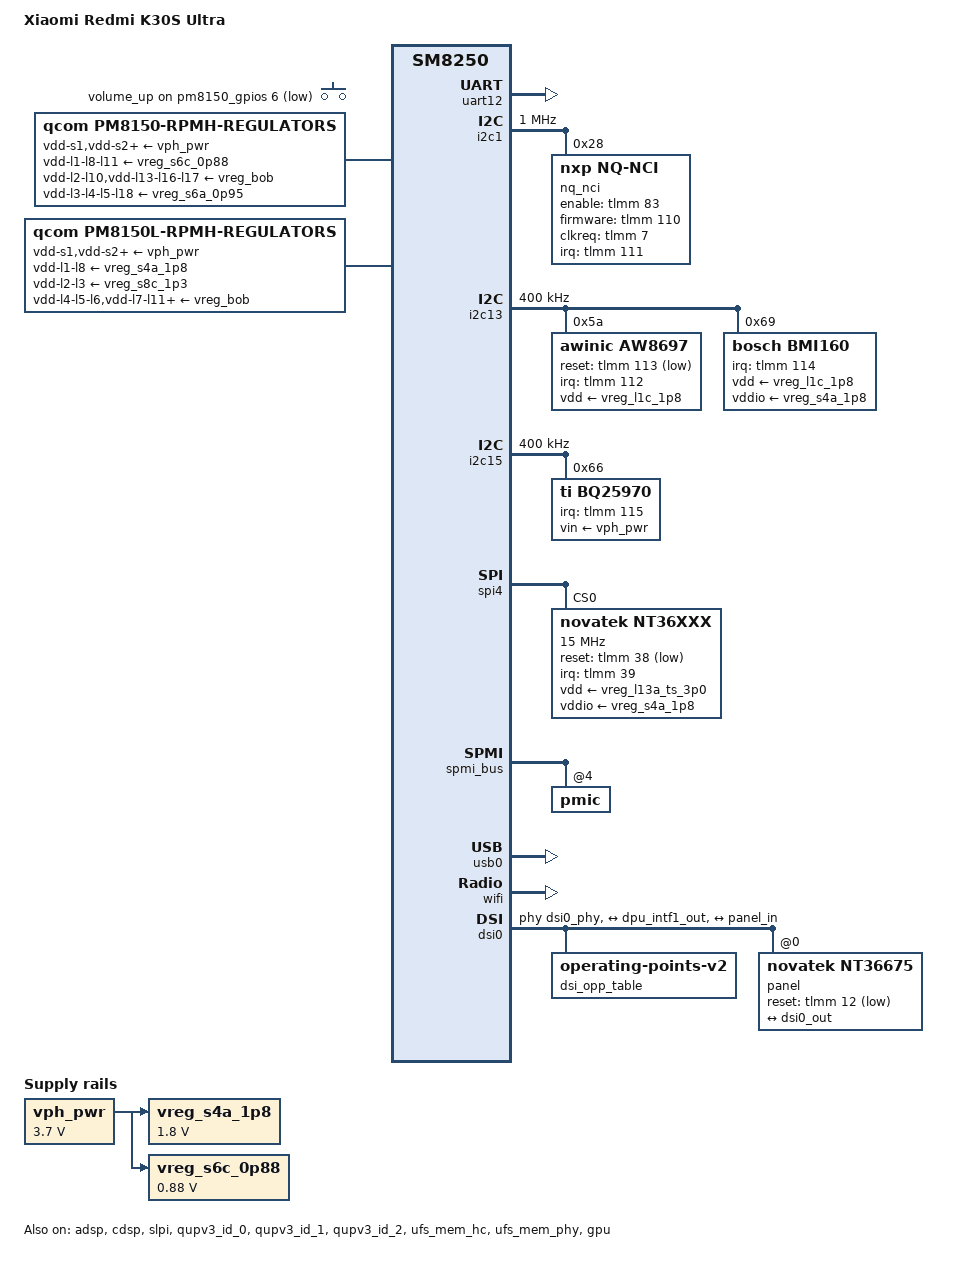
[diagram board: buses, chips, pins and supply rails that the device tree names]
// SPDX-License-Identifier: BSD-3-Clause
/*
 * Copyright (c) 2020, The Linux Foundation. All rights reserved.
 * Copyright (c) 2026, Apollo Kernel Project
 *
 * Device Tree for Xiaomi Redmi K30S Ultra (apollo)
 * Based on Qualcomm SM8250 MTP
 */

/dts-v1/;

#include <dt-bindings/regulator/qcom,rpmh-regulator.h>
#include <dt-bindings/gpio/gpio.h>
#include <dt-bindings/input/input.h>
#include <dt-bindings/interconnect/qcom,sm8250.h>
#include <dt-bindings/clock/qcom,dispcc-sm8250.h>
#include "sm8250.dtsi"
#include "pm8150.dtsi"
#include "pm8150b.dtsi"
#include "pm8150l.dtsi"

/ {
	model = "Xiaomi Redmi K30S Ultra";
	compatible = "xiaomi,apollo", "qcom,sm8250";
	qcom,msm-id = <0x164 0x10000>;
	qcom,board-id = <0x00 0x00>;

	aliases {
		serial0 = &uart12;
	};

	chosen {
		stdout-path = "serial0:115200n8";
	};

	/* Fixed regulators */
	vph_pwr: vph-pwr-regulator {
		compatible = "regulator-fixed";
		regulator-name = "vph_pwr";
		regulator-min-microvolt = <3700000>;
		regulator-max-microvolt = <3700000>;
	};

	vreg_s4a_1p8: pm8150-s4 {
		compatible = "regulator-fixed";
		regulator-name = "vreg_s4a_1p8";
		regulator-min-microvolt = <1800000>;
		regulator-max-microvolt = <1800000>;
		regulator-always-on;
		regulator-boot-on;
		vin-supply = <&vph_pwr>;
	};

	vreg_s6c_0p88: smpc6-regulator {
		compatible = "regulator-fixed";
		regulator-name = "vreg_s6c_0p88";
		regulator-min-microvolt = <880000>;
		regulator-max-microvolt = <880000>;
		regulator-always-on;
		vin-supply = <&vph_pwr>;
	};

	/* GPIO keys */
	gpio-keys {
		compatible = "gpio-keys";
		label = "gpio-keys";

		vol-up {
			label = "volume_up";
			gpios = <&pm8150_gpios 6 GPIO_ACTIVE_LOW>;
			linux,input-type = <1>;
			linux,code = <KEY_VOLUMEUP>;
			gpio-key,wakeup;
			debounce-interval = <15>;
			linux,can-disable;
		};
	};

	reserved-memory {
		#address-cells = <2>;
		#size-cells = <2>;
		ranges;

		ramoops@AFF00000 {
			compatible = "ramoops";
			reg = <0x0 0xaff00000 0x0 0x100000>;
			ecc-size = <0>;
			console-size = <0x80000>;
			pmsg-size = <0x40000>;
			ftrace-size = <0>;
			record-size = <0x40000>;
		};
	};
};

&adsp {
	status = "okay";
	firmware-name = "qcom/sm8250/adsp.mbn";
};

&cdsp {
	status = "okay";
	firmware-name = "qcom/sm8250/cdsp.mbn";
};

&slpi {
	status = "okay";
	firmware-name = "qcom/sm8250/slpi.mbn";
};

&apps_rsc {
	pm8150-rpmh-regulators {
		compatible = "qcom,pm8150-rpmh-regulators";
		qcom,pmic-id = "a";

		vdd-s1-supply = <&vph_pwr>;
		vdd-s2-supply = <&vph_pwr>;
		vdd-s3-supply = <&vph_pwr>;
		vdd-s4-supply = <&vph_pwr>;
		vdd-s5-supply = <&vph_pwr>;
		vdd-s6-supply = <&vph_pwr>;
		vdd-s7-supply = <&vph_pwr>;
		vdd-s8-supply = <&vph_pwr>;
		vdd-s9-supply = <&vph_pwr>;
		vdd-s10-supply = <&vph_pwr>;
		vdd-l1-l8-l11-supply = <&vreg_s6c_0p88>;
		vdd-l2-l10-supply = <&vreg_bob>;
		vdd-l3-l4-l5-l18-supply = <&vreg_s6a_0p95>;
		vdd-l6-l9-supply = <&vreg_s8c_1p3>;
		vdd-l7-l12-l14-l15-supply = <&vreg_s5a_1p9>;
		vdd-l13-l16-l17-supply = <&vreg_bob>;

		vreg_s5a_1p9: smps5 {
			regulator-name = "vreg_s5a_1p9";
			regulator-min-microvolt = <1904000>;
			regulator-max-microvolt = <2000000>;
			regulator-initial-mode = <RPMH_REGULATOR_MODE_HPM>;
		};

		vreg_s6a_0p95: smps6 {
			regulator-name = "vreg_s6a_0p95";
			regulator-min-microvolt = <920000>;
			regulator-max-microvolt = <1128000>;
			regulator-initial-mode = <RPMH_REGULATOR_MODE_HPM>;
		};

		vreg_l2a_3p1: ldo2 {
			regulator-name = "vreg_l2a_3p1";
			regulator-min-microvolt = <3072000>;
			regulator-max-microvolt = <3072000>;
			regulator-initial-mode = <RPMH_REGULATOR_MODE_HPM>;
		};

		vreg_l3a_0p9: ldo3 {
			regulator-name = "vreg_l3a_0p9";
			regulator-min-microvolt = <928000>;
			regulator-max-microvolt = <932000>;
			regulator-initial-mode = <RPMH_REGULATOR_MODE_HPM>;
		};

		vreg_l5a_0p875: ldo5 {
			regulator-name = "vreg_l5a_0p875";
			regulator-min-microvolt = <880000>;
			regulator-max-microvolt = <880000>;
			regulator-initial-mode = <RPMH_REGULATOR_MODE_HPM>;
		};

		vreg_l6a_1p2: ldo6 {
			regulator-name = "vreg_l6a_1p2";
			regulator-min-microvolt = <1200000>;
			regulator-max-microvolt = <1200000>;
			regulator-initial-mode = <RPMH_REGULATOR_MODE_HPM>;
		};

		vreg_l7a_1p7: ldo7 {
			regulator-name = "vreg_l7a_1p7";
			regulator-min-microvolt = <1704000>;
			regulator-max-microvolt = <1800000>;
			regulator-initial-mode = <RPMH_REGULATOR_MODE_HPM>;
		};

		vreg_l9a_1p2: ldo9 {
			regulator-name = "vreg_l9a_1p2";
			regulator-min-microvolt = <1200000>;
			regulator-max-microvolt = <1200000>;
			regulator-initial-mode = <RPMH_REGULATOR_MODE_HPM>;
		};

		vreg_l10a_1p8: ldo10 {
			regulator-name = "vreg_l10a_1p8";
			regulator-min-microvolt = <1800000>;
			regulator-max-microvolt = <1800000>;
			regulator-initial-mode = <RPMH_REGULATOR_MODE_HPM>;
		};

		vreg_l12a_1p8: ldo12 {
			regulator-name = "vreg_l12a_1p8";
			regulator-min-microvolt = <1800000>;
			regulator-max-microvolt = <1800000>;
			regulator-initial-mode = <RPMH_REGULATOR_MODE_HPM>;
		};

		vreg_l13a_ts_3p0: ldo13 {
			regulator-name = "vreg_l13a_ts_3p0";
			regulator-min-microvolt = <3008000>;
			regulator-max-microvolt = <3008000>;
			regulator-initial-mode = <RPMH_REGULATOR_MODE_HPM>;
		};

		vreg_l14a_1p8: ldo14 {
			regulator-name = "vreg_l14a_1p8";
			regulator-min-microvolt = <1800000>;
			regulator-max-microvolt = <1880000>;
			regulator-initial-mode = <RPMH_REGULATOR_MODE_HPM>;
		};

		vreg_l15a_11ad_io_1p8: ldo15 {
			regulator-name = "vreg_l15a_11ad_io_1p8";
			regulator-min-microvolt = <1800000>;
			regulator-max-microvolt = <1800000>;
			regulator-initial-mode = <RPMH_REGULATOR_MODE_HPM>;
		};

		vreg_l16a_2p7: ldo16 {
			regulator-name = "vreg_l16a_2p7";
			regulator-min-microvolt = <2704000>;
			regulator-max-microvolt = <2960000>;
			regulator-initial-mode = <RPMH_REGULATOR_MODE_HPM>;
		};

		vreg_l17a_3p0: ldo17 {
			regulator-name = "vreg_l17a_3p0";
			regulator-min-microvolt = <2856000>;
			regulator-max-microvolt = <3008000>;
			regulator-initial-mode = <RPMH_REGULATOR_MODE_HPM>;
		};
	};

	pm8150l-rpmh-regulators {
		compatible = "qcom,pm8150l-rpmh-regulators";
		qcom,pmic-id = "c";

		vdd-s1-supply = <&vph_pwr>;
		vdd-s2-supply = <&vph_pwr>;
		vdd-s3-supply = <&vph_pwr>;
		vdd-s4-supply = <&vph_pwr>;
		vdd-s5-supply = <&vph_pwr>;
		vdd-s6-supply = <&vph_pwr>;
		vdd-s7-supply = <&vph_pwr>;
		vdd-s8-supply = <&vph_pwr>;
		vdd-l1-l8-supply = <&vreg_s4a_1p8>;
		vdd-l2-l3-supply = <&vreg_s8c_1p3>;
		vdd-l4-l5-l6-supply = <&vreg_bob>;
		vdd-l7-l11-supply = <&vreg_bob>;
		vdd-l9-l10-supply = <&vreg_bob>;
		vdd-bob-supply = <&vph_pwr>;

		vreg_bob: bob {
			regulator-name = "vreg_bob";
			regulator-min-microvolt = <3008000>;
			regulator-max-microvolt = <4000000>;
			regulator-initial-mode = <RPMH_REGULATOR_MODE_AUTO>;
		};

		vreg_s8c_1p3: smps8 {
			regulator-name = "vreg_s8c_1p3";
			regulator-min-microvolt = <1352000>;
			regulator-max-microvolt = <1352000>;
			regulator-initial-mode = <RPMH_REGULATOR_MODE_HPM>;
		};

		vreg_l1c_1p8: ldo1 {
			regulator-name = "vreg_l1c_1p8";
			regulator-min-microvolt = <1800000>;
			regulator-max-microvolt = <1800000>;
			regulator-initial-mode = <RPMH_REGULATOR_MODE_HPM>;
		};

		vreg_l2c_1p2: ldo2 {
			regulator-name = "vreg_l2c_1p2";
			regulator-min-microvolt = <1200000>;
			regulator-max-microvolt = <1200000>;
			regulator-initial-mode = <RPMH_REGULATOR_MODE_HPM>;
		};

		vreg_l3c_0p92: ldo3 {
			regulator-name = "vreg_l3c_0p92";
			regulator-min-microvolt = <920000>;
			regulator-max-microvolt = <920000>;
			regulator-initial-mode = <RPMH_REGULATOR_MODE_HPM>;
		};

		vreg_l4c_1p7: ldo4 {
			regulator-name = "vreg_l4c_1p7";
			regulator-min-microvolt = <1704000>;
			regulator-max-microvolt = <2928000>;
			regulator-initial-mode = <RPMH_REGULATOR_MODE_HPM>;
		};

		vreg_l5c_1p8: ldo5 {
			regulator-name = "vreg_l5c_1p8";
			regulator-min-microvolt = <1800000>;
			regulator-max-microvolt = <2928000>;
			regulator-initial-mode = <RPMH_REGULATOR_MODE_HPM>;
		};

		vreg_l6c_2p9: ldo6 {
			regulator-name = "vreg_l6c_2p9";
			regulator-min-microvolt = <1800000>;
			regulator-max-microvolt = <2960000>;
			regulator-initial-mode = <RPMH_REGULATOR_MODE_HPM>;
		};

		vreg_l7c_cam_vcm0_2p85: ldo7 {
			regulator-name = "vreg_l7c_cam_vcm0_2p85";
			regulator-min-microvolt = <2856000>;
			regulator-max-microvolt = <3104000>;
			regulator-initial-mode = <RPMH_REGULATOR_MODE_HPM>;
		};

		vreg_l8c_1p8: ldo8 {
			regulator-name = "vreg_l8c_1p8";
			regulator-min-microvolt = <1800000>;
			regulator-max-microvolt = <1800000>;
			regulator-initial-mode = <RPMH_REGULATOR_MODE_HPM>;
		};

		vreg_l9c_2p9: ldo9 {
			regulator-name = "vreg_l9c_2p9";
			regulator-min-microvolt = <2704000>;
			regulator-max-microvolt = <2960000>;
			regulator-initial-mode = <RPMH_REGULATOR_MODE_HPM>;
		};

		vreg_l10c_3p0: ldo10 {
			regulator-name = "vreg_l10c_3p0";
			regulator-min-microvolt = <3000000>;
			regulator-max-microvolt = <3000000>;
			regulator-initial-mode = <RPMH_REGULATOR_MODE_HPM>;
		};

		vreg_l11c_3p3: ldo11 {
			regulator-name = "vreg_l11c_3p3";
			regulator-min-microvolt = <3000000>;
			regulator-max-microvolt = <3312000>;
			regulator-initial-mode = <RPMH_REGULATOR_MODE_HPM>;
		};
	};
};

/* QUPv3 wrappers */
&qupv3_id_0 {
	status = "okay";
};

&qupv3_id_1 {
	status = "okay";
};

&qupv3_id_2 {
	status = "okay";
};

/* Debug UART */
&uart12 {
	status = "okay";
};

/* I2C buses */
&i2c1 {
	status = "okay";
	clock-frequency = <1000000>;

	nq_nci: nq@28 {
		compatible = "nxp,nq-nci";
		reg = <0x28>;
		interrupt-parent = <&tlmm>;
		interrupts = <111 IRQ_TYPE_EDGE_RISING>;
		enable-gpios = <&tlmm 83 GPIO_ACTIVE_HIGH>;
		firmware-gpios = <&tlmm 110 GPIO_ACTIVE_HIGH>;
		clkreq-gpios = <&tlmm 7 GPIO_ACTIVE_HIGH>;
	};
};

&i2c13 {
	status = "okay";
	clock-frequency = <400000>;

	aw8697: aw8697@5a {
		compatible = "awinic,aw8697";
		reg = <0x5a>;
		interrupt-parent = <&tlmm>;
		interrupts = <112 IRQ_TYPE_EDGE_FALLING>;
		reset-gpios = <&tlmm 113 GPIO_ACTIVE_LOW>;
		vdd-supply = <&vreg_l1c_1p8>;
	};

	bmi160: bmi160@69 {
		compatible = "bosch,bmi160";
		reg = <0x69>;
		interrupt-parent = <&tlmm>;
		interrupts = <114 IRQ_TYPE_EDGE_RISING>;
		vdd-supply = <&vreg_l1c_1p8>;
		vddio-supply = <&vreg_s4a_1p8>;
	};
};

&i2c15 {
	status = "okay";
	clock-frequency = <400000>;

	bq25970: bq25970@66 {
		compatible = "ti,bq25970";
		reg = <0x66>;
		interrupt-parent = <&tlmm>;
		interrupts = <115 IRQ_TYPE_EDGE_FALLING>;
		vin-supply = <&vph_pwr>;
	};
};

/* SPI for touchscreen (NT36xxx) */
&spi4 {
	status = "okay";

	nt36xxx: nt36xxx@0 {
		compatible = "novatek,nt36xxx";
		reg = <0>;
		spi-max-frequency = <15000000>;
		interrupt-parent = <&tlmm>;
		interrupts = <39 IRQ_TYPE_EDGE_FALLING>;
		reset-gpios = <&tlmm 38 GPIO_ACTIVE_LOW>;
		vdd-supply = <&vreg_l13a_ts_3p0>;
		vddio-supply = <&vreg_s4a_1p8>;
	};
};

&tlmm {
	gpio-reserved-ranges = <28 4>, <40 4>;
};

/* UFS */
&ufs_mem_hc {
	status = "okay";

	vcc-supply = <&vreg_l17a_3p0>;
	vcc-max-microamp = <750000>;
	vccq-supply = <&vreg_l6a_1p2>;
	vccq-max-microamp = <700000>;
	vccq2-supply = <&vreg_s4a_1p8>;
	vccq2-max-microamp = <750000>;
};

&ufs_mem_phy {
	status = "okay";

	vdda-phy-supply = <&vreg_l5a_0p875>;
	vdda-max-microamp = <90200>;
	vdda-pll-supply = <&vreg_l9a_1p2>;
	vdda-pll-max-microamp = <19000>;
};

/* GPU - Adreno 650 */
&gpu {
	status = "okay";
};

/* WLED Backlight on pm8150l */
&spmi_bus {
	pmic@4 {
		wled@d800 {
			compatible = "qcom,pm8150l-wled";
			reg = <0xd800>;
			interrupts = <0x4 0xd8 0x0 IRQ_TYPE_EDGE_RISING>;
			qcom,num-strings = <3>;
			qcom,switching-freq = <1600>;
			qcom,ovp = <28000>;
			qcom,external-pfet;
			qcom,cabc;
			qcom,auto-calibration;
			qcom,current-limit = <25>;
			qcom,current-boost-limit = <800>;

			led-driver {
				qcom,leds = <3>;
				label = "backlight";
			};
		};
	};
};

/* USB3.0 DWC3 */
&soc {
	usb0: usb@a600000 {
		compatible = "qcom,dwc3";
		reg = <0x0 0x0a600000 0x0 0x400>;
		#address-cells = <1>;
		#size-cells = <1>;
		ranges;

		clocks = <&gcc GCC_USB30_PRIM_MASTER_CLK>,
			 <&gcc GCC_CFG_NOC_USB3_PRIM_AXI_CLK>,
			 <&gcc GCC_USB30_PRIM_MOCK_UTMI_CLK>,
			 <&gcc GCC_USB30_PRIM_SLEEP_CLK>;
		clock-names = "core", "iface", "mock_utmi", "sleep";

		assigned-clocks = <&gcc GCC_USB30_PRIM_MOCK_UTMI_CLK>,
				  <&gcc GCC_USB30_PRIM_MASTER_CLK>;
		assigned-clock-rates = <19200000>, <133333333>;

		power-domains = <&gcc USB30_PRIM_GDSC>;
		resets = <&gcc GCC_USB30_PRIM_BCR>;

		usb_0: usb@a620000 {
			compatible = "snps,dwc3";
			reg = <0x0a620000 0xcc00>;
			interrupts = <GIC_SPI 131 IRQ_TYPE_LEVEL_HIGH>;
			phys = <&qmp_usb3_phy>;
			phy-names = "usb3-phy";
			dr_mode = "peripheral";
			maximum-speed = "super-speed";
			snps,dis-u2-freeclk-exists-quirk;
			snps,dis-del-phy-power-chg-quirk;
		};
	};

	qmp_usb3_phy: phy@a700000 {
		compatible = "qcom,sm8250-qmp-usb3-phy";
		reg = <0x0 0x0a700000 0x0 0x1c4>;
		#address-cells = <1>;
		#size-cells = <1>;
		ranges;

		clocks = <&gcc GCC_USB3_PRIM_PHY_AUX_CLK>,
			 <&rpmhcc RPMH_CXO_CLK>,
			 <&gcc GCC_USB3_PRIM_PHY_COM_AUX_CLK>;
		clock-names = "aux", "ref", "com_aux";

		resets = <&gcc GCC_USB3_DP_PHY_PRIM_BCR>,
			 <&gcc GCC_USB3_PHY_PRIM_BCR>;
		reset-names = "phy", "common";

		usb3_phy: phy@a70200 {
			reg = <0x0a70200 0x200>;
			#clock-cells = <0>;
			#phy-cells = <0>;
			clocks = <&gcc GCC_USB3_PRIM_PHY_PIPE_CLK>;
			clock-names = "pipe0";
			clock-output-names = "usb3_phy_pipe_clk_src";
		};
	};

	/* WiFi QCA6390 - ath11k AHB (5.10 has QCA6390 CE config but AHB match
	 * only supports ipq8074/ipq6018. Node added for future compatibility.
	 * May require cnss2 or later kernel ath11k AHB match table update. */
	wifi: wifi@c000000 {
		compatible = "qcom,ath11k";
		reg = <0x0 0x0c000000 0x0 0x800000>;
		interrupts = <GIC_SPI 414 IRQ_TYPE_LEVEL_HIGH>;
		#address-cells = <1>;
		#size-cells = <1>;
	};

/* MDSS Display Subsystem */
	mdss: display-subsystem@ae00000 {
		compatible = "qcom,sm8250-mdss";
		reg = <0x0 0x0ae00000 0x0 0x1000>;
		reg-names = "mdss";

		interconnects = <&mmss_noc MASTER_MDP_PORT0 &mc_virt SLAVE_EBI_CH0>,
				<&mmss_noc MASTER_MDP_PORT1 &mc_virt SLAVE_EBI_CH0>;
		interconnect-names = "mdp0-mem", "mdp1-mem";

		power-domains = <&dispcc MDSS_GDSC>;

		clocks = <&dispcc DISP_CC_MDSS_AHB_CLK>,
			 <&gcc GCC_DISP_HF_AXI_CLK>,
			 <&gcc GCC_DISP_SF_AXI_CLK>,
			 <&dispcc DISP_CC_MDSS_MDP_CLK>;
		clock-names = "iface", "bus", "nrt_bus", "core";

		interrupts = <GIC_SPI 83 IRQ_TYPE_LEVEL_HIGH>;
		interrupt-controller;
		#interrupt-cells = <1>;

		iommus = <&apps_smmu 0x820 0x402>;

		#address-cells = <1>;
		#size-cells = <1>;
		ranges;

		dpu: display-controller@ae01000 {
			compatible = "qcom,sm8250-dpu";
			reg = <0x0ae01000 0x8f000>,
			      <0x0aeb0000 0x2008>;
			reg-names = "mdp", "vbif";

			clocks = <&dispcc DISP_CC_MDSS_AHB_CLK>,
				 <&gcc GCC_DISP_HF_AXI_CLK>,
				 <&dispcc DISP_CC_MDSS_MDP_CLK>,
				 <&dispcc DISP_CC_MDSS_VSYNC_CLK>;
			clock-names = "iface", "bus", "core", "vsync";

			assigned-clocks = <&dispcc DISP_CC_MDSS_VSYNC_CLK>;
			assigned-clock-rates = <19200000>;

			operating-points-v2 = <&mdp_opp_table>;
			power-domains = <&rpmhpd SM8250_MMCX>;

			interrupt-parent = <&mdss>;
			interrupts = <0>;

			ports {
				#address-cells = <1>;
				#size-cells = <0>;

				port@0 {
					reg = <0>;
					dpu_intf1_out: endpoint {
						remote-endpoint = <&dsi0_in>;
					};
				};
			};

			mdp_opp_table: opp-table {
				compatible = "operating-points-v2";

				opp-200000000 {
					opp-hz = /bits/ 64 <200000000>;
					required-opps = <&rpmhpd_opp_low_svs>;
				};
				opp-300000000 {
					opp-hz = /bits/ 64 <300000000>;
					required-opps = <&rpmhpd_opp_svs>;
				};
				opp-345000000 {
					opp-hz = /bits/ 64 <345000000>;
					required-opps = <&rpmhpd_opp_svs_l1>;
				};
				opp-460000000 {
					opp-hz = /bits/ 64 <460000000>;
					required-opps = <&rpmhpd_opp_nom>;
				};
			};
		};

		dsi0: dsi@ae94000 {
			compatible = "qcom,mdss-dsi-ctrl";
			reg = <0x0ae94000 0x400>;
			reg-names = "dsi_ctrl";

			interrupt-parent = <&mdss>;
			interrupts = <4>;

			clocks = <&dispcc DISP_CC_MDSS_BYTE0_CLK>,
				 <&dispcc DISP_CC_MDSS_BYTE0_INTF_CLK>,
				 <&dispcc DISP_CC_MDSS_PCLK0_CLK>,
				 <&dispcc DISP_CC_MDSS_ESC0_CLK>,
				 <&dispcc DISP_CC_MDSS_AHB_CLK>,
				 <&gcc GCC_DISP_HF_AXI_CLK>;
			clock-names = "byte", "byte_intf", "pixel",
				      "core", "iface", "bus";

			assigned-clocks = <&dispcc DISP_CC_MDSS_BYTE0_CLK_SRC>,
					  <&dispcc DISP_CC_MDSS_PCLK0_CLK_SRC>;
			assigned-clock-parents = <&dsi0_phy 0>, <&dsi0_phy 1>;

			operating-points-v2 = <&dsi_opp_table>;
			power-domains = <&rpmhpd SM8250_MMCX>;

			phys = <&dsi0_phy>;
			phy-names = "dsi";

			#address-cells = <1>;
			#size-cells = <0>;

			ports {
				#address-cells = <1>;
				#size-cells = <0>;

				port@0 {
					reg = <0>;
					dsi0_in: endpoint {
						remote-endpoint = <&dpu_intf1_out>;
					};
				};

				port@1 {
					reg = <1>;
					dsi0_out: endpoint {
						remote-endpoint = <&panel_in>;
					};
				};
			};

			dsi_opp_table: opp-table {
				compatible = "operating-points-v2";

				opp-187500000 {
					opp-hz = /bits/ 64 <187500000>;
					required-opps = <&rpmhpd_opp_low_svs>;
				};
				opp-300000000 {
					opp-hz = /bits/ 64 <300000000>;
					required-opps = <&rpmhpd_opp_svs>;
				};
				opp-358000000 {
					opp-hz = /bits/ 64 <358000000>;
					required-opps = <&rpmhpd_opp_svs_l1>;
				};
			};

			panel: panel@0 {
				compatible = "novatek,nt36675", "simple-panel";
				reg = <0>;

				reset-gpios = <&tlmm 12 GPIO_ACTIVE_LOW>;

				ports {
					#address-cells = <1>;
					#size-cells = <0>;

					port@0 {
						reg = <0>;
						panel_in: endpoint {
							remote-endpoint = <&dsi0_out>;
						};
					};
				};
			};
		};

		dsi0_phy: phy@ae94400 {
			compatible = "qcom,dsi-phy-7nm";
			reg = <0x0ae94400 0x200>,
			      <0x0ae94600 0x280>,
			      <0x0ae94900 0x260>;
			reg-names = "dsi_phy", "dsi_phy_lane", "dsi_pll";

			#clock-cells = <1>;
			#phy-cells = <0>;

			clocks = <&dispcc DISP_CC_MDSS_AHB_CLK>,
				 <&rpmhcc RPMH_CXO_CLK>;
			clock-names = "iface", "ref";

			vdds-supply = <&vreg_l4c_1p7>;
		};
	};
};
